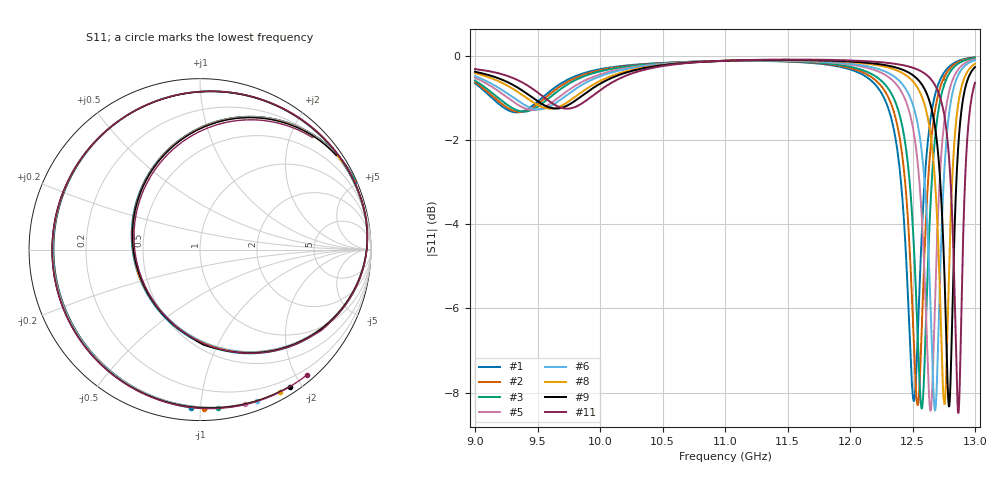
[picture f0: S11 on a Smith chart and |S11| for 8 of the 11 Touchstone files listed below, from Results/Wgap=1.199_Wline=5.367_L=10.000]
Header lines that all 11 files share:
! TOUCHSTONE file generated by CST DESIGN STUDIO
! Project name: C:\Work\MatlabApps\UnitCellOptimizationMatlab\CST\unitcell.cst
! Tree item: Tasks\Sweep1\SPara1\S-Parameters
! Header version: 2024
! Port assignment regex: !\s*Touchstone port\s*([0-9]+)\s*=\s*(CST MWS port|CST DES external port|CST DES block port)\s*(.+)\s* \(\"(.*)\"\)(\s*mode\s*([0-9]+))?.*
! Touchstone port assignment:
! Touchstone port 1 = CST DES external port 1 ("")
# GHz S MA R 50
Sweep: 9 GHz to 13 GHz
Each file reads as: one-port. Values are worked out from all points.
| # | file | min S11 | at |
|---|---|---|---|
| 1 | DS_for_MWS-run-0001.s1p | -8.2 dB | 12.51 GHz |
| 2 | DS_for_MWS-run-0002.s1p | -8.3 dB | 12.54 GHz |
| 3 | DS_for_MWS-run-0003.s1p | -8.4 dB | 12.57 GHz |
| 4 | DS_for_MWS-run-0004.s1p | -8.4 dB | 12.61 GHz |
| 5 | DS_for_MWS-run-0005.s1p | -8.4 dB | 12.64 GHz |
| 6 | DS_for_MWS-run-0006.s1p | -8.4 dB | 12.68 GHz |
| 7 | DS_for_MWS-run-0007.s1p | -8.4 dB | 12.72 GHz |
| 8 | DS_for_MWS-run-0008.s1p | -8.3 dB | 12.76 GHz |
| 9 | DS_for_MWS-run-0009.s1p | -8.3 dB | 12.79 GHz |
| 10 | DS_for_MWS-run-0010.s1p | -8.4 dB | 12.83 GHz |
| 11 | DS_for_MWS-run-0011.s1p | -8.5 dB | 12.87 GHz |
